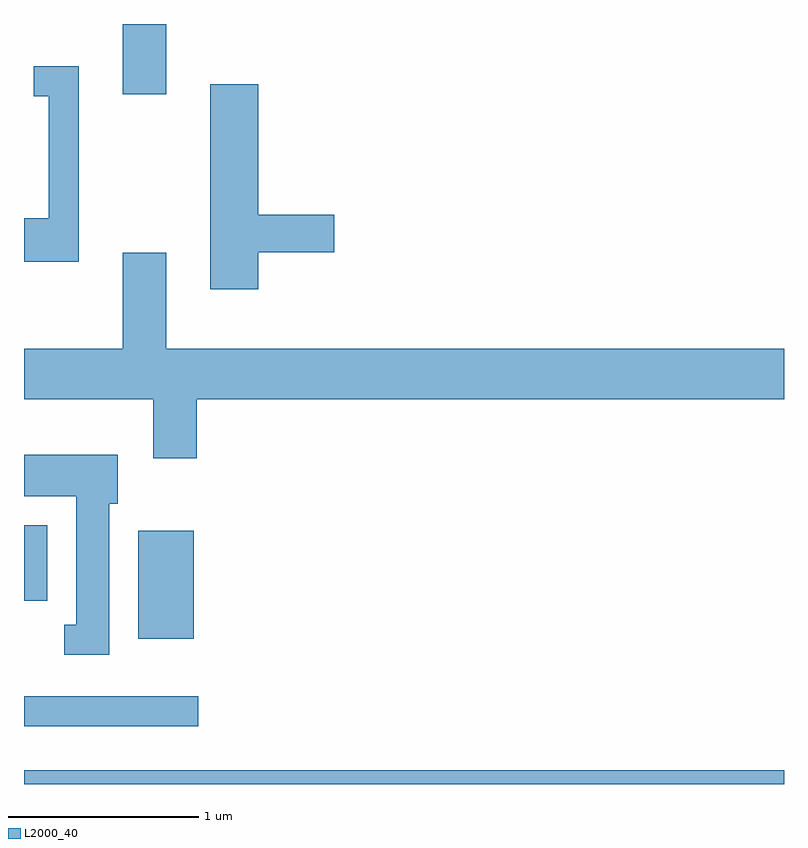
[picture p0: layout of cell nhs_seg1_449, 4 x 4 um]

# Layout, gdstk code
import gdstk
lib = gdstk.Library(unit=1e-6, precision=1e-09)
def R(c, l, rs):  # rectangles x0, y0, x1, y1
    for r in rs: c.add(gdstk.rectangle(r[:2], r[2:], *l))
def P(c, l, *ps):  # polygons
    for p in ps: c.add(gdstk.Polygon(p, *l))
L2000_40 = (2000, 40)

nhs_seg1_449 = lib.new_cell('nhs_seg1_449')
R(nhs_seg1_449, L2000_40, [(197.611,959.712,201.611,959.784), (197.611,960.016,198.528,960.174), (198.211,960.476,198.504,961.044), (197.611,960.676,197.734,961.074), (198.131,963.341,198.359,963.712)])
P(nhs_seg1_449, L2000_40, [(197.899,963.489),(197.663,963.489),(197.663,963.331),(197.741,963.331),(197.741,962.689),(197.611,962.689),(197.611,962.461),(197.899,962.461)],
  [(198.844,962.511),(199.244,962.511),(199.244,962.709),(198.844,962.709),(198.844,963.394),(198.591,963.394),(198.591,962.316),(198.844,962.316)],
  [(198.519,961.736),(201.611,961.736),(201.611,962.004),(198.359,962.004),(198.359,962.509),(198.131,962.509),(198.131,962.004),(197.611,962.004),(197.611,961.736),(198.291,961.736),(198.291,961.426),(198.519,961.426)],
  [(198.059,961.186),(198.104,961.186),(198.104,961.444),(197.611,961.444),(197.611,961.226),(197.886,961.226),(197.886,960.549),(197.823,960.549),(197.823,960.391),(198.059,960.391)])

lib.write_gds('nhs_seg1_449.gds')
